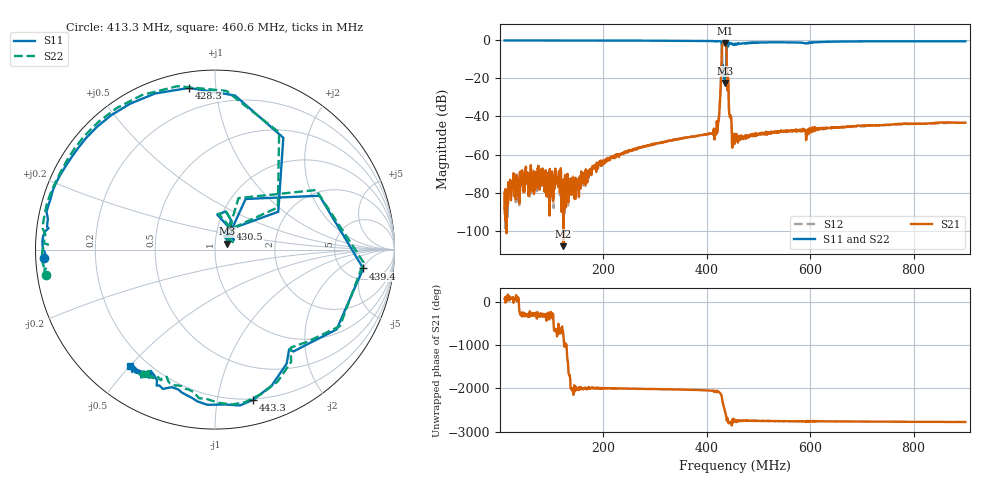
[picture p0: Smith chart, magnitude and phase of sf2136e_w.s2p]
# Hz S RI R 50
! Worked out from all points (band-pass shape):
!   1601 points, 10 MHz to 900 MHz, reference 50 ohm
!   highest |S21| = -1.57 dB at 435.5 MHz (marker M1); lowest = -108.2 dB at 123.5 MHz (marker M2)
!   |S21| within 3 dB of the highest: 429.8 MHz to 438.4 MHz (8.54 MHz wide, 1.97 % of centre)
!   lowest |S11| = -22.3 dB at 435.5 MHz (marker M3), VSWR 1.17, Z = 57.3 + j3.84 ohm
!   |S11| at or under -10 dB: 430.1 MHz to 438.3 MHz (8.18 MHz wide, 1.88 % of centre)
!   |S22| runs from -22.0 to 0.0 dB; largest |S21 - S12| = 0.0081
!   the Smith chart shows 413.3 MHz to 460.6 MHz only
!   S11 on the Smith chart (normalised r, x): 413.3 MHz: 0.02, -0.02; 428.3 MHz: 0.08, +0.85; 430.5 MHz: 1.16, +0.27; 439.4 MHz: 7.43, -5.07; 443.3 MHz: 0.19, -1.27; 460.6 MHz: 0.14, -0.50
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1e7  0.9951 -0.0983  1.33e-05 3.44e-05  -5.96e-06 2.65e-05  0.9949 -0.0976
5.33875e7  0.8687 -0.4942  0.000107 0.000228  6.87e-05 0.000213  0.8695 -0.489
1.23475e8  0.4296 -0.8991  6.25e-07 -3.83e-06  -1.76e-05 -1.17e-05  0.4408 -0.8873
1.585188e8  0.1833 -0.9778  -0.000247 6.66e-05  -0.000278 6.27e-05  0.203 -0.9667
2.12475e8  -0.1594 -0.9791  -0.000744 0.00024  -0.000733 0.000232  -0.124 -0.9746
3.070375e8  -0.6048 -0.78  -0.0016 0.00119  -0.00157 0.00117  -0.5494 -0.807
3.81575e8  -0.8611 -0.4657  -0.00172 0.00256  -0.00176 0.0025  -0.8116 -0.5319
4.132812e8  -0.9554 -0.0477  -0.00173 0.00397  -0.0018 0.00391  -0.9418 -0.1422
4.21625e8  -0.9155 0.2847  0.000413 0.00505  0.00028 0.00508  -0.9487 0.2005
4.249625e8  -0.7662 0.5613  0.00522 0.0132  0.00495 0.0134  -0.8245 0.4974
4.283e8  -0.1447 0.9008  0.1315 0.0352  0.1342 0.037  -0.2089 0.9105
4.30525e8  0.0865 0.1145  -0.3703 -0.6731  -0.3721 -0.6746  0.0914 0.1167
4.333062e8  0.0551 0.0951  -0.1377 0.8203  -0.1372 0.8224  0.055 0.0741
4.355312e8  0.0688 0.0334  0.8324 0.0581  0.8332 0.0569  0.069 0.0396
4.39425e8  0.8259 -0.1047  -0.0867 0.0913  -0.0847 0.0932  0.8279 -0.072
4.433188e8  0.2137 -0.8364  0.00134 0.0161  0.00147 0.0158  0.2591 -0.8037
4.477688e8  -0.2042 -0.7795  0.00329 0.00746  0.00324 0.00732  -0.1621 -0.777
4.55e8  -0.411 -0.713  -0.00195 0.00206  -0.00194 0.00202  -0.353 -0.7129
4.605625e8  -0.4714 -0.6469  -0.00147 0.00148  -0.00145 0.00147  -0.3928 -0.6906
6.035188e8  -0.8166 -0.3374  -0.00199 0.00347  -0.00197 0.00337  -0.7585 -0.4251
7.520375e8  -0.9492 -0.0576  -0.00256 0.00549  -0.00261 0.00533  -0.9185 -0.2125
9e8  -0.9361 0.1681  -0.00211 0.00652  -0.00224 0.00641  -0.9466 -0.0233
